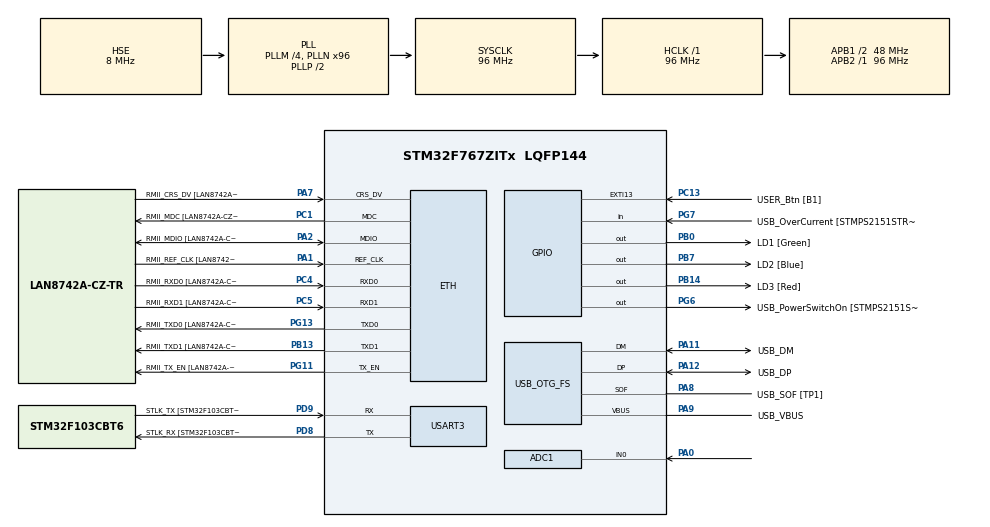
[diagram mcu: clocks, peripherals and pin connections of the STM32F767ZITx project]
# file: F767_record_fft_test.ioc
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ADC1.Channel-2\#ChannelRegularConversion=ADC_CHANNEL_0
ADC1.DMAContinuousRequests=ENABLE
ADC1.ExternalTrigConv=ADC_EXTERNALTRIGCONV_T2_TRGO
ADC1.NbrOfConversionFlag=1
ADC1.Rank-2\#ChannelRegularConversion=1
ADC1.SamplingTime-2\#ChannelRegularConversion=ADC_SAMPLETIME_144CYCLES
ADC1.master=1
CORTEX_M7.default_mode_Activation=1
Dma.ADC1.0.Direction=DMA_PERIPH_TO_MEMORY
Dma.ADC1.0.FIFOMode=DMA_FIFOMODE_DISABLE
Dma.ADC1.0.Instance=DMA2_Stream0
Dma.ADC1.0.MemDataAlignment=DMA_MDATAALIGN_HALFWORD
Dma.ADC1.0.MemInc=DMA_MINC_ENABLE
Dma.ADC1.0.Mode=DMA_CIRCULAR
Dma.ADC1.0.PeriphDataAlignment=DMA_PDATAALIGN_HALFWORD
Dma.ADC1.0.PeriphInc=DMA_PINC_DISABLE
Dma.ADC1.0.Priority=DMA_PRIORITY_HIGH
Dma.Request0=ADC1
ETH.MediaInterface=HAL_ETH_RMII_MODE
ETH.PHY_Name=LAN8742A_PHY_ADDRESS
ETH.PHY_Value=0
ETH.PhyAddress=0
Mcu.Family=STM32F7
Mcu.Name=STM32F767ZITx
Mcu.Package=LQFP144
NVIC.DMA2_Stream0_IRQn=true\:0\:0\:false\:false\:true\:false\:true\:true
NVIC.PriorityGroup=NVIC_PRIORITYGROUP_4
PA0/WKUP.Signal=ADCx_IN0
PA1.GPIO_Label=RMII_REF_CLK [LAN8742A-CZ-TR_REFCLK0]
PA1.Mode=RMII
PA1.Signal=ETH_REF_CLK
PA10.GPIO_Label=USB_ID
PA10.Signal=USB_OTG_FS_ID
PA11.GPIO_Label=USB_DM
PA11.Mode=Device_Only
PA11.Signal=USB_OTG_FS_DM
PA12.GPIO_Label=USB_DP
PA12.Mode=Device_Only
PA12.Signal=USB_OTG_FS_DP
PA13.GPIO_Label=TMS
PA13.Mode=Serial_Wire
PA13.Signal=SYS_JTMS-SWDIO
PA14.GPIO_Label=TCK
PA14.Mode=Serial_Wire
PA14.Signal=SYS_JTCK-SWCLK
PA2.GPIO_Label=RMII_MDIO [LAN8742A-CZ-TR_MDIO]
PA2.Mode=RMII
PA2.Signal=ETH_MDIO
PA7.GPIO_Label=RMII_CRS_DV [LAN8742A-CZ-TR_CRS_DV]
PA7.Mode=RMII
PA7.Signal=ETH_CRS_DV
PA8.GPIO_Label=USB_SOF [TP1]
PA8.Mode=Activate_SOF_FS
PA8.Signal=USB_OTG_FS_SOF
PA9.GPIO_Label=USB_VBUS
PA9.Mode=Activate_VBUS
PA9.Signal=USB_OTG_FS_VBUS
PB0.GPIO_Label=LD1 [Green]
PB0.Signal=GPIO_Output
PB13.GPIO_Label=RMII_TXD1 [LAN8742A-CZ-TR_TXD1]
PB13.Mode=RMII
PB13.Signal=ETH_TXD1
PB14.GPIO_Label=LD3 [Red]
PB14.Signal=GPIO_Output
PB3.GPIO_Label=SWO
PB3.Signal=SYS_JTDO-SWO
PB7.GPIO_Label=LD2 [Blue]
PB7.Signal=GPIO_Output
PC1.GPIO_Label=RMII_MDC [LAN8742A-CZ-TR_MDC]
PC1.Mode=RMII
PC1.Signal=ETH_MDC
PC13.GPIO_Label=USER_Btn [B1]
PC13.Signal=GPXTI13
PC14/OSC32_IN.Mode=LSE-External-Oscillator
PC14/OSC32_IN.Signal=RCC_OSC32_IN
PC15/OSC32_OUT.Mode=LSE-External-Oscillator
PC15/OSC32_OUT.Signal=RCC_OSC32_OUT
PC4.GPIO_Label=RMII_RXD0 [LAN8742A-CZ-TR_RXD0]
PC4.Mode=RMII
PC4.Signal=ETH_RXD0
PC5.GPIO_Label=RMII_RXD1 [LAN8742A-CZ-TR_RXD1]
PC5.Mode=RMII
PC5.Signal=ETH_RXD1
PD8.GPIO_Label=STLK_RX [STM32F103CBT6_PA3]
PD8.Mode=Asynchronous
PD8.Signal=USART3_TX
PD9.GPIO_Label=STLK_TX [STM32F103CBT6_PA2]
PD9.Mode=Asynchronous
PD9.Signal=USART3_RX
PG11.GPIO_Label=RMII_TX_EN [LAN8742A-CZ-TR_TXEN]
PG11.Mode=RMII
PG11.Signal=ETH_TX_EN
PG13.GPIO_Label=RMII_TXD0 [LAN8742A-CZ-TR_TXD0]
PG13.Mode=RMII
PG13.Signal=ETH_TXD0
PG6.GPIO_Label=USB_PowerSwitchOn [STMPS2151STR_EN]
PG6.Signal=GPIO_Output
PG7.GPIO_Label=USB_OverCurrent [STMPS2151STR_FAULT]
PG7.Signal=GPIO_Input
PH0/OSC_IN.GPIO_Label=MCO [STM32F103CBT6_PA8]
PH0/OSC_IN.Mode=HSE-External-Clock-Source
PH0/OSC_IN.Signal=RCC_OSC_IN
PH1/OSC_OUT.Mode=HSE-External-Clock-Source
PH1/OSC_OUT.Signal=RCC_OSC_OUT
ProjectManager.HeapSize=0x200
ProjectManager.StackSize=0x400
ProjectManager.TargetToolchain=STM32CubeIDE
RCC.48MHZClocksFreq_Value=24000000
RCC.AHBFreq_Value=96000000
RCC.APB1CLKDivider=RCC_HCLK_DIV2
RCC.APB1Freq_Value=48000000
RCC.APB1TimFreq_Value=96000000
RCC.APB2Freq_Value=96000000
RCC.APB2TimFreq_Value=96000000
RCC.CortexFreq_Value=96000000
RCC.HCLKFreq_Value=96000000
RCC.HSE_VALUE=8000000
RCC.HSI_VALUE=16000000
RCC.PLLM=4
RCC.PLLMUL=RCC_PLL_MUL9
RCC.PLLN=96
RCC.PLLQ=4
RCC.PRESCALERUSB=RCC_USBCLKSOURCE_PLL_DIV1_5
RCC.SYSCLKFreq_VALUE=96000000
RCC.SYSCLKSource=RCC_SYSCLKSOURCE_PLLCLK
RCC.SYSCLKSourceVirtual=RCC_SYSCLKSOURCE_PLLCLK
RCC.USBFreq_Value=48000000
RCC.VCOOutputFreq_Value=192000000
SH.ADCx_IN0.0=ADC1_IN0,IN0
TIM2.Period=61
TIM2.Prescaler=95
TIM2.TIM_MasterOutputTrigger=TIM_TRGO_UPDATE
USART3.VirtualMode-Asynchronous=VM_ASYNC
USB_OTG_FS.VirtualMode=Device_Only
VP_TIM2_VS_ClockSourceINT.Mode=Internal
board=NUCLEO-F767ZI

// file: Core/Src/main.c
/* USER CODE BEGIN Header */
/* F767_record_fft_test */
/**
  ******************************************************************************
  * @file           : main.c
  * @brief          : Main program body
  ******************************************************************************
  * @attention
  *
  * Copyright (c) 2026 STMicroelectronics.
  * All rights reserved.
  *
  * This software is licensed under terms that can be found in the LICENSE file
  * in the root directory of this software component.
  * If no LICENSE file comes with this software, it is provided AS-IS.
  *
  ******************************************************************************
  */
/* USER CODE END Header */
#include "main.h"
#include "string.h"

/* USER CODE BEGIN Includes */
#include "arm_math.h"
#include <math.h>
#include <string.h>
#include <stdio.h>
#include <stdint.h>
/* USER CODE END Includes */

#if defined ( __ICCARM__ ) /*!< IAR Compiler */
#pragma location=0x2007c000
ETH_DMADescTypeDef  DMARxDscrTab[ETH_RX_DESC_CNT]; /* Ethernet Rx DMA Descriptors */
#pragma location=0x2007c0a0
ETH_DMADescTypeDef  DMATxDscrTab[ETH_TX_DESC_CNT]; /* Ethernet Tx DMA Descriptors */

#elif defined ( __CC_ARM )  /* MDK ARM Compiler */

__attribute__((at(0x2007c000))) ETH_DMADescTypeDef  DMARxDscrTab[ETH_RX_DESC_CNT]; /* Ethernet Rx DMA Descriptors */
__attribute__((at(0x2007c0a0))) ETH_DMADescTypeDef  DMATxDscrTab[ETH_TX_DESC_CNT]; /* Ethernet Tx DMA Descriptors */

#elif defined ( __GNUC__ ) /* GNU Compiler */

ETH_DMADescTypeDef DMARxDscrTab[ETH_RX_DESC_CNT] __attribute__((section(".RxDecripSection"))); /* Ethernet Rx DMA Descriptors */
ETH_DMADescTypeDef DMATxDscrTab[ETH_TX_DESC_CNT] __attribute__((section(".TxDecripSection")));   /* Ethernet Tx DMA Descriptors */
#endif

ETH_TxPacketConfig TxConfig;

ADC_HandleTypeDef hadc1;
DMA_HandleTypeDef hdma_adc1;

ETH_HandleTypeDef heth;

TIM_HandleTypeDef htim2;

UART_HandleTypeDef huart3;

PCD_HandleTypeDef hpcd_USB_OTG_FS;

/* USER CODE BEGIN PV */
#define FFT_SIZE      4096
#define ADC_BUF_LEN   (FFT_SIZE * 2)
#define FFT_BINS      (FFT_SIZE / 2)

uint16_t adcBuf[ADC_BUF_LEN];
float fftIn[FFT_SIZE];
float fftOut[FFT_SIZE];
float mag[FFT_BINS];
float window[FFT_SIZE];

volatile uint8_t halfReady = 0;
volatile uint8_t fullReady = 0;
volatile uint16_t msgID = 0;
volatile uint32_t halfCount = 0;
volatile uint32_t fullCount = 0;

arm_rfft_fast_instance_f32 fftHandler;
/* USER CODE END PV */

void SystemClock_Config(void);
static void MPU_Config(void);
static void MX_GPIO_Init(void);
static void MX_DMA_Init(void);
static void MX_ADC1_Init(void);
static void MX_ETH_Init(void);
static void MX_USART3_UART_Init(void);
static void MX_USB_OTG_FS_PCD_Init(void);
static void MX_TIM2_Init(void);

/* USER CODE BEGIN 0 */
void MakeHannWindow(void)
{
  for (int i = 0; i < FFT_SIZE; i++)
  {
    window[i] = 0.5f - 0.5f * cosf((2.0f * PI * i) / (FFT_SIZE - 1));
  } // end for
} // end function MakeHannWindow

void ProcessFFT(uint16_t *src)
{
  float mean = 0.0f;
  for (int i = 0; i < FFT_SIZE; i++)
  {
    fftIn[i] = (float)src[i];
    mean += fftIn[i];
  } // end for

  mean /= FFT_SIZE;         // calculate mean value of fftIn

  for (int i = 0; i < FFT_SIZE; i++)
  {
    fftIn[i] = (fftIn[i] - mean) * window[i];       // de-mean and apply hanning window
  } // end for

  arm_rfft_fast_f32(&fftHandler , fftIn , fftOut , 0);

  mag[0] = fabs(fftOut[0]);

  for (int k = 1; k < FFT_BINS; k++)
  {
    float re = fftOut[2 * k];       // real part of FFT result
    float im = fftOut[2 * k - 1];   // image part of FFT result
    mag[k] = sqrtf(re * re + im * im);
  } // end for
} // end function ProcessFFT

void SendFFTPacket(void)
{
  static uint8_t txBuf[2 + 2 + 2 + FFT_BINS * 2 + 2];
  uint16_t idx = 0;
  uint32_t sum = 0;
  const float scale = 0.005f;

  txBuf[idx++] = 0xAA;
  txBuf[idx++] = 0x55;

  txBuf[idx++] = (uint8_t)(msgID & 0xFF);
  txBuf[idx++] = (uint8_t)((msgID >> 8) & 0xFF);

  txBuf[idx++] = (uint8_t)(FFT_BINS & 0xFF);
  txBuf[idx++] = (uint8_t)((FFT_BINS >> 8) & 0xFF);

  for (int i = 0; i < FFT_BINS; i++)
  {
    float x = mag[i] * scale;

    if (x < 0.0f) x = 0.0f;
    if (x > 65535.0f) x = 65535.0f;

    uint16_t y = (uint16_t)x;

    txBuf[idx++] = (uint8_t)(y & 0xFF);
    txBuf[idx++] = (uint8_t)((y >> 8) & 0xFF);

    sum += y;
  } // end for

  uint16_t crc = (uint16_t)(sum & 0xFFFF);
  txBuf[idx++] = (uint8_t)(crc & 0xFF);
  txBuf[idx++] = (uint8_t)((crc >> 8) & 0xFF);

  HAL_UART_Transmit(&huart3 , txBuf , idx , HAL_MAX_DELAY);

  msgID++;
} // end function SendFFTPacket
/* USER CODE END 0 */

int main(void)
{

  /* MPU Configuration--------------------------------------------------------*/
  MPU_Config();

  /* MCU Configuration--------------------------------------------------------*/

  /* Reset of all peripherals, Initializes the Flash interface and the Systick. */
  HAL_Init();

  /* Configure the system clock */
  SystemClock_Config();

  /* Initialize all configured peripherals */
  MX_GPIO_Init();
  MX_DMA_Init();
  MX_ADC1_Init();
  MX_ETH_Init();
  MX_USART3_UART_Init();
  MX_USB_OTG_FS_PCD_Init();
  MX_TIM2_Init();
  /* USER CODE BEGIN 2 */
  arm_rfft_fast_init_f32(&fftHandler , FFT_SIZE);
  MakeHannWindow();

  HAL_TIM_Base_Start(&htim2);
  HAL_ADC_Start_DMA(&hadc1 , (uint32_t*)adcBuf , ADC_BUF_LEN);
  /* USER CODE END 2 */

  /* Infinite loop */
  /* USER CODE BEGIN WHILE */
  while (1)
  {
    /*
    if (halfReady)
    {
      halfReady = 0;
      ProcessFFT(&adcBuf[0]);
      SendFFTPacket();
    } // end if halfReady
    */

    if (fullReady)
    {
      fullReady = 0;
      ProcessFFT(&adcBuf[FFT_SIZE]);
      SendFFTPacket();
    } // end if fullReady
    /* USER CODE END WHILE */

  }
}

void SystemClock_Config(void)
{
  RCC_OscInitTypeDef RCC_OscInitStruct = {0};
  RCC_ClkInitTypeDef RCC_ClkInitStruct = {0};

  /** Configure LSE Drive Capability
  */
  HAL_PWR_EnableBkUpAccess();

  /** Configure the main internal regulator output voltage
  */
  __HAL_RCC_PWR_CLK_ENABLE();
  __HAL_PWR_VOLTAGESCALING_CONFIG(PWR_REGULATOR_VOLTAGE_SCALE3);

  /** Initializes the RCC Oscillators according to the specified parameters
  * in the RCC_OscInitTypeDef structure.
  */
  RCC_OscInitStruct.OscillatorType = RCC_OSCILLATORTYPE_HSE;
  RCC_OscInitStruct.HSEState = RCC_HSE_BYPASS;
  RCC_OscInitStruct.PLL.PLLState = RCC_PLL_ON;
  RCC_OscInitStruct.PLL.PLLSource = RCC_PLLSOURCE_HSE;
  RCC_OscInitStruct.PLL.PLLM = 4;
  RCC_OscInitStruct.PLL.PLLN = 96;
  RCC_OscInitStruct.PLL.PLLP = RCC_PLLP_DIV2;
  RCC_OscInitStruct.PLL.PLLQ = 4;
  RCC_OscInitStruct.PLL.PLLR = 2;
  if (HAL_RCC_OscConfig(&RCC_OscInitStruct) != HAL_OK)
  {
    Error_Handler();
  }

  /** Activate the Over-Drive mode
  */
  if (HAL_PWREx_EnableOverDrive() != HAL_OK)
  {
    Error_Handler();
  }

  /** Initializes the CPU, AHB and APB buses clocks
  */
  RCC_ClkInitStruct.ClockType = RCC_CLOCKTYPE_HCLK|RCC_CLOCKTYPE_SYSCLK
                              |RCC_CLOCKTYPE_PCLK1|RCC_CLOCKTYPE_PCLK2;
  RCC_ClkInitStruct.SYSCLKSource = RCC_SYSCLKSOURCE_PLLCLK;
  RCC_ClkInitStruct.AHBCLKDivider = RCC_SYSCLK_DIV1;
  RCC_ClkInitStruct.APB1CLKDivider = RCC_HCLK_DIV2;
  RCC_ClkInitStruct.APB2CLKDivider = RCC_HCLK_DIV1;

  if (HAL_RCC_ClockConfig(&RCC_ClkInitStruct, FLASH_LATENCY_3) != HAL_OK)
  {
    Error_Handler();
  }
}

static void MX_ADC1_Init(void)
{

  ADC_ChannelConfTypeDef sConfig = {0};

  /** Configure the global features of the ADC (Clock, Resolution, Data Alignment and number of conversion)
  */
  hadc1.Instance = ADC1;
  hadc1.Init.ClockPrescaler = ADC_CLOCK_SYNC_PCLK_DIV4;
  hadc1.Init.Resolution = ADC_RESOLUTION_12B;
  hadc1.Init.ScanConvMode = ADC_SCAN_DISABLE;
  hadc1.Init.ContinuousConvMode = DISABLE;
  hadc1.Init.DiscontinuousConvMode = DISABLE;
  hadc1.Init.ExternalTrigConvEdge = ADC_EXTERNALTRIGCONVEDGE_RISING;
  hadc1.Init.ExternalTrigConv = ADC_EXTERNALTRIGCONV_T2_TRGO;
  hadc1.Init.DataAlign = ADC_DATAALIGN_RIGHT;
  hadc1.Init.NbrOfConversion = 1;
  hadc1.Init.DMAContinuousRequests = ENABLE;
  hadc1.Init.EOCSelection = ADC_EOC_SINGLE_CONV;
  if (HAL_ADC_Init(&hadc1) != HAL_OK)
  {
    Error_Handler();
  }

  /** Configure for the selected ADC regular channel its corresponding rank in the sequencer and its sample time.
  */
  sConfig.Channel = ADC_CHANNEL_0;
  sConfig.Rank = ADC_REGULAR_RANK_1;
  sConfig.SamplingTime = ADC_SAMPLETIME_144CYCLES;
  if (HAL_ADC_ConfigChannel(&hadc1, &sConfig) != HAL_OK)
  {
    Error_Handler();
  }

}

static void MX_ETH_Init(void)
{

   static uint8_t MACAddr[6];

  heth.Instance = ETH;
  MACAddr[0] = 0x00;
  MACAddr[1] = 0x80;
  MACAddr[2] = 0xE1;
  MACAddr[3] = 0x00;
  MACAddr[4] = 0x00;
  MACAddr[5] = 0x00;
  heth.Init.MACAddr = &MACAddr[0];
  heth.Init.MediaInterface = HAL_ETH_RMII_MODE;
  heth.Init.TxDesc = DMATxDscrTab;
  heth.Init.RxDesc = DMARxDscrTab;
  heth.Init.RxBuffLen = 1524;

  if (HAL_ETH_Init(&heth) != HAL_OK)
  {
    Error_Handler();
  }

  memset(&TxConfig, 0 , sizeof(ETH_TxPacketConfig));
  TxConfig.Attributes = ETH_TX_PACKETS_FEATURES_CSUM | ETH_TX_PACKETS_FEATURES_CRCPAD;
  TxConfig.ChecksumCtrl = ETH_CHECKSUM_IPHDR_PAYLOAD_INSERT_PHDR_CALC;
  TxConfig.CRCPadCtrl = ETH_CRC_PAD_INSERT;

}

static void MX_TIM2_Init(void)
{

  TIM_ClockConfigTypeDef sClockSourceConfig = {0};
  TIM_MasterConfigTypeDef sMasterConfig = {0};

  htim2.Instance = TIM2;
  htim2.Init.Prescaler = 14;
  htim2.Init.CounterMode = TIM_COUNTERMODE_UP;
  htim2.Init.Period = 99;
  htim2.Init.ClockDivision = TIM_CLOCKDIVISION_DIV1;
  htim2.Init.AutoReloadPreload = TIM_AUTORELOAD_PRELOAD_DISABLE;
  if (HAL_TIM_Base_Init(&htim2) != HAL_OK)
  {
    Error_Handler();
  }
  sClockSourceConfig.ClockSource = TIM_CLOCKSOURCE_INTERNAL;
  if (HAL_TIM_ConfigClockSource(&htim2, &sClockSourceConfig) != HAL_OK)
  {
    Error_Handler();
  }
  sMasterConfig.MasterOutputTrigger = TIM_TRGO_UPDATE;
  sMasterConfig.MasterSlaveMode = TIM_MASTERSLAVEMODE_DISABLE;
  if (HAL_TIMEx_MasterConfigSynchronization(&htim2, &sMasterConfig) != HAL_OK)
  {
    Error_Handler();
  }

}

static void MX_USART3_UART_Init(void)
{

  huart3.Instance = USART3;
  huart3.Init.BaudRate = 1152000;
  huart3.Init.WordLength = UART_WORDLENGTH_8B;
  huart3.Init.StopBits = UART_STOPBITS_1;
  huart3.Init.Parity = UART_PARITY_NONE;
  huart3.Init.Mode = UART_MODE_TX_RX;
  huart3.Init.HwFlowCtl = UART_HWCONTROL_NONE;
  huart3.Init.OverSampling = UART_OVERSAMPLING_16;
  huart3.Init.OneBitSampling = UART_ONE_BIT_SAMPLE_DISABLE;
  huart3.AdvancedInit.AdvFeatureInit = UART_ADVFEATURE_NO_INIT;
  if (HAL_UART_Init(&huart3) != HAL_OK)
  {
    Error_Handler();
  }

}

static void MX_USB_OTG_FS_PCD_Init(void)
{

  hpcd_USB_OTG_FS.Instance = USB_OTG_FS;
  hpcd_USB_OTG_FS.Init.dev_endpoints = 6;
  hpcd_USB_OTG_FS.Init.speed = PCD_SPEED_FULL;
  hpcd_USB_OTG_FS.Init.dma_enable = DISABLE;
  hpcd_USB_OTG_FS.Init.phy_itface = PCD_PHY_EMBEDDED;
  hpcd_USB_OTG_FS.Init.Sof_enable = ENABLE;
  hpcd_USB_OTG_FS.Init.low_power_enable = DISABLE;
  hpcd_USB_OTG_FS.Init.lpm_enable = DISABLE;
  hpcd_USB_OTG_FS.Init.vbus_sensing_enable = ENABLE;
  hpcd_USB_OTG_FS.Init.use_dedicated_ep1 = DISABLE;
  if (HAL_PCD_Init(&hpcd_USB_OTG_FS) != HAL_OK)
  {
    Error_Handler();
  }

}

static void MX_DMA_Init(void)
{

  /* DMA controller clock enable */
  __HAL_RCC_DMA2_CLK_ENABLE();

  /* DMA interrupt init */
  /* DMA2_Stream0_IRQn interrupt configuration */
  HAL_NVIC_SetPriority(DMA2_Stream0_IRQn, 0, 0);
  HAL_NVIC_EnableIRQ(DMA2_Stream0_IRQn);

}

static void MX_GPIO_Init(void)
{
  GPIO_InitTypeDef GPIO_InitStruct = {0};

  /* GPIO Ports Clock Enable */
  __HAL_RCC_GPIOC_CLK_ENABLE();
  __HAL_RCC_GPIOH_CLK_ENABLE();
  __HAL_RCC_GPIOA_CLK_ENABLE();
  __HAL_RCC_GPIOB_CLK_ENABLE();
  __HAL_RCC_GPIOD_CLK_ENABLE();
  __HAL_RCC_GPIOG_CLK_ENABLE();

  /*Configure GPIO pin Output Level */
  HAL_GPIO_WritePin(GPIOB, LD1_Pin|LD3_Pin|LD2_Pin, GPIO_PIN_RESET);

  /*Configure GPIO pin Output Level */
  HAL_GPIO_WritePin(USB_PowerSwitchOn_GPIO_Port, USB_PowerSwitchOn_Pin, GPIO_PIN_RESET);

  /*Configure GPIO pin : USER_Btn_Pin */
  GPIO_InitStruct.Pin = USER_Btn_Pin;
  GPIO_InitStruct.Mode = GPIO_MODE_IT_RISING;
  GPIO_InitStruct.Pull = GPIO_NOPULL;
  HAL_GPIO_Init(USER_Btn_GPIO_Port, &GPIO_InitStruct);

  /*Configure GPIO pins : LD1_Pin LD3_Pin LD2_Pin */
  GPIO_InitStruct.Pin = LD1_Pin|LD3_Pin|LD2_Pin;
  GPIO_InitStruct.Mode = GPIO_MODE_OUTPUT_PP;
  GPIO_InitStruct.Pull = GPIO_NOPULL;
  GPIO_InitStruct.Speed = GPIO_SPEED_FREQ_LOW;
  HAL_GPIO_Init(GPIOB, &GPIO_InitStruct);

  /*Configure GPIO pin : USB_PowerSwitchOn_Pin */
  GPIO_InitStruct.Pin = USB_PowerSwitchOn_Pin;
  GPIO_InitStruct.Mode = GPIO_MODE_OUTPUT_PP;
  GPIO_InitStruct.Pull = GPIO_NOPULL;
  GPIO_InitStruct.Speed = GPIO_SPEED_FREQ_LOW;
  HAL_GPIO_Init(USB_PowerSwitchOn_GPIO_Port, &GPIO_InitStruct);

  /*Configure GPIO pin : USB_OverCurrent_Pin */
  GPIO_InitStruct.Pin = USB_OverCurrent_Pin;
  GPIO_InitStruct.Mode = GPIO_MODE_INPUT;
  GPIO_InitStruct.Pull = GPIO_NOPULL;
  HAL_GPIO_Init(USB_OverCurrent_GPIO_Port, &GPIO_InitStruct);

}

/* USER CODE BEGIN 4 */
void HAL_ADC_ConvHalfCpltCallback(ADC_HandleTypeDef* hadc)
{
  if (hadc->Instance == ADC1)
  {
    halfReady = 1;
  } // end if halfReady
} // end function HAL_ADC_ConvHalfCplitCallback

void HAL_ADC_ConvCpltCallback(ADC_HandleTypeDef* hadc)
{
  if (hadc->Instance ==  ADC1)
  {
    fullReady = 1;
  } // end if fullReady
} // end if HAL_ADC_ConvCpltCallback
/* USER CODE END 4 */

 /* MPU Configuration */

void MPU_Config(void)
{
  MPU_Region_InitTypeDef MPU_InitStruct = {0};

  /* Disables the MPU */
  HAL_MPU_Disable();

  /** Initializes and configures the Region and the memory to be protected
  */
  MPU_InitStruct.Enable = MPU_REGION_ENABLE;
  MPU_InitStruct.Number = MPU_REGION_NUMBER0;
  MPU_InitStruct.BaseAddress = 0x0;
  MPU_InitStruct.Size = MPU_REGION_SIZE_4GB;
  MPU_InitStruct.SubRegionDisable = 0x87;
  MPU_InitStruct.TypeExtField = MPU_TEX_LEVEL0;
  MPU_InitStruct.AccessPermission = MPU_REGION_NO_ACCESS;
  MPU_InitStruct.DisableExec = MPU_INSTRUCTION_ACCESS_DISABLE;
  MPU_InitStruct.IsShareable = MPU_ACCESS_SHAREABLE;
  MPU_InitStruct.IsCacheable = MPU_ACCESS_NOT_CACHEABLE;
  MPU_InitStruct.IsBufferable = MPU_ACCESS_NOT_BUFFERABLE;

  HAL_MPU_ConfigRegion(&MPU_InitStruct);
  /* Enables the MPU */
  HAL_MPU_Enable(MPU_PRIVILEGED_DEFAULT);

}

void Error_Handler(void)
{
  __disable_irq();
  while (1)
  {
  }
}
